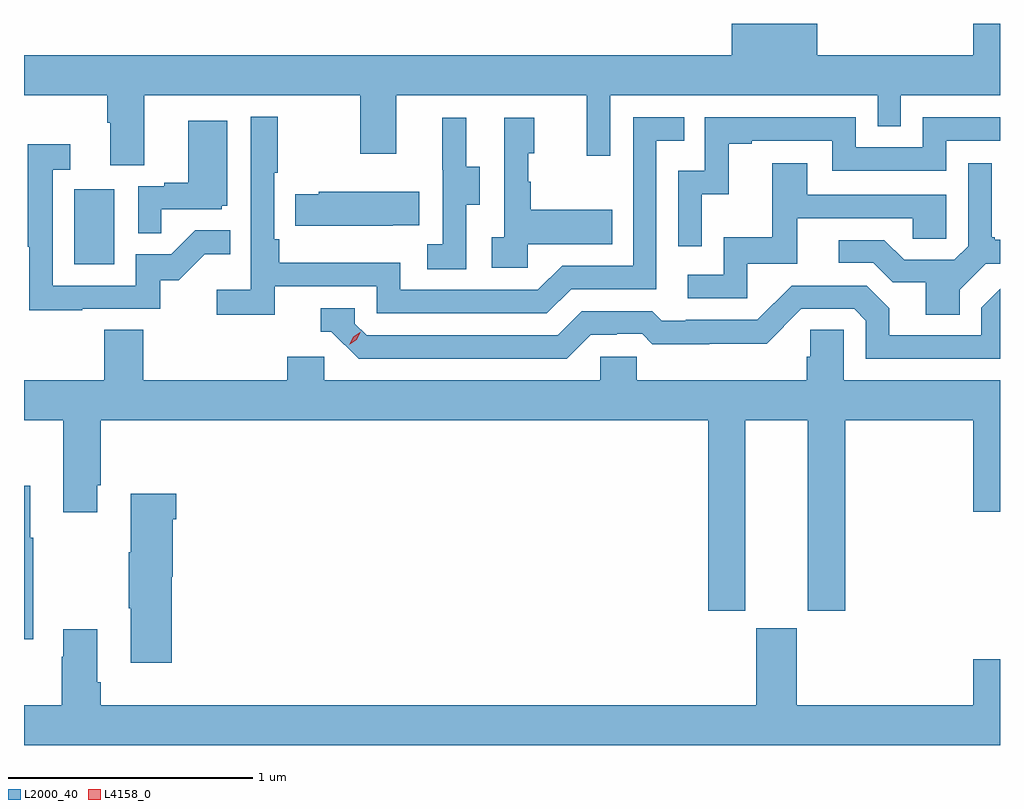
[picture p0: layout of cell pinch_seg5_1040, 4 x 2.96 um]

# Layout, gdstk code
import gdstk
lib = gdstk.Library(unit=1e-6, precision=1e-09)
def R(c, l, rs):  # rectangles x0, y0, x1, y1
    for r in rs: c.add(gdstk.rectangle(r[:2], r[2:], *l))
def P(c, l, *ps):  # polygons
    for p in ps: c.add(gdstk.Polygon(p, *l))
L2000_40 = (2000, 40)
L4158_0 = (4158, 0)

pinch_seg5_1040 = lib.new_cell('pinch_seg5_1040')
R(pinch_seg5_1040, L2000_40, [(820.664,864.06,820.828,864.367)])
P(pinch_seg5_1040, L2000_40, [(820.951,864.752),(821.836,864.752),(821.836,864.513),(821.983,864.513),(821.983,864.752),(822.764,864.752),(822.764,864.504),(822.861,864.504),(822.861,864.752),(823.956,864.752),(823.956,864.625),(824.052,864.625),(824.052,864.752),(824.458,864.752),(824.458,865.047),(824.348,865.047),(824.348,864.916),(823.708,864.916),(823.708,865.047),(823.358,865.047),(823.358,864.916),(820.458,864.916),(820.458,864.752),(820.799,864.752),(820.799,864.64),(820.811,864.64),(820.811,864.466),(820.951,864.466)],
  [(821.486,863.97),(821.904,863.97),(821.904,863.859),(822.601,863.859),(822.7,863.958),(823.05,863.958),(823.05,864.567),(823.163,864.567),(823.163,864.663),(822.954,864.663),(822.954,864.054),(822.663,864.054),(822.564,863.955),(822,863.955),(822,864.067),(821.504,864.067),(821.504,864.163),(821.484,864.163),(821.484,864.436),(821.497,864.436),(821.497,864.664),(821.388,864.664),(821.388,863.956),(821.247,863.956),(821.247,863.854),(821.486,863.854)],
  [(823.236,864.347),(823.346,864.347),(823.346,864.555),(823.441,864.555),(823.441,864.567),(823.77,864.567),(823.77,864.444),(824.238,864.444),(824.238,864.567),(824.458,864.567),(824.458,864.663),(824.142,864.663),(824.142,864.54),(823.866,864.54),(823.866,864.663),(823.248,864.663),(823.248,864.444),(823.14,864.444),(823.14,864.135),(823.236,864.135)],
  [(822.27,864.304),(822.325,864.304),(822.325,864.459),(822.271,864.459),(822.271,864.661),(822.173,864.661),(822.173,864.447),(822.174,864.447),(822.174,864.143),(822.111,864.143),(822.111,864.04),(822.27,864.04)],
  [(822.522,864.143),(822.869,864.143),(822.869,864.283),(822.535,864.283),(822.535,864.398),(822.525,864.398),(822.525,864.516),(822.55,864.516),(822.55,864.661),(822.426,864.661),(822.426,864.17),(822.375,864.17),(822.375,864.045),(822.522,864.045)],
  [(821.021,864.285),(821.268,864.285),(821.268,864.3),(821.29,864.3),(821.29,864.649),(821.132,864.649),(821.132,864.394),(821.033,864.394),(821.033,864.381),(820.926,864.381),(820.926,864.187),(821.021,864.187)],
  [(820.697,863.877),(821.016,863.877),(821.016,863.994),(821.092,863.994),(821.199,864.101),(821.303,864.101),(821.303,864.2),(821.159,864.2),(821.061,864.102),(820.917,864.102),(820.917,863.973),(820.575,863.973),(820.575,864.447),(820.648,864.447),(820.648,864.553),(820.474,864.553),(820.474,864.133),(820.479,864.133),(820.479,863.872),(820.697,863.872)],
  [(823.422,864.063),(823.627,864.063),(823.627,864.249),(824.101,864.249),(824.101,864.165),(824.238,864.165),(824.238,864.345),(823.669,864.345),(823.669,864.475),(823.525,864.475),(823.525,864.172),(823.326,864.172),(823.326,864.018),(823.179,864.018),(823.179,863.922),(823.422,863.922)],
  [(824.293,863.956),(824.4,864.063),(824.458,864.063),(824.458,864.16),(824.437,864.16),(824.437,864.172),(824.425,864.172),(824.425,864.475),(824.328,864.475),(824.328,864.135),(824.271,864.078),(824.065,864.078),(823.984,864.159),(823.797,864.159),(823.797,864.066),(823.938,864.066),(824.018,863.986),(824.153,863.986),(824.153,863.854),(824.293,863.854)],
  [(821.969,864.221),(822.077,864.221),(822.077,864.358),(821.667,864.358),(821.667,864.348),(821.569,864.348),(821.569,864.218),(821.969,864.218)],
  [(822.781,863.772),(822.888,863.772),(822.888,863.775),(822.991,863.775),(823.033,863.733),(823.266,863.733),(823.266,863.735),(823.502,863.735),(823.644,863.877),(823.86,863.877),(823.908,863.829),(823.908,863.673),(824.458,863.673),(824.458,863.959),(824.382,863.883),(824.382,863.769),(824.005,863.769),(824.005,863.879),(823.911,863.973),(823.605,863.973),(823.464,863.832),(823.171,863.832),(823.171,863.829),(823.072,863.829),(823.033,863.868),(822.744,863.868),(822.645,863.769),(821.862,863.769),(821.814,863.817),(821.814,863.88),(821.675,863.88),(821.675,863.784),(821.718,863.784),(821.829,863.673),(822.682,863.673)],
  [(823.414,863.42),(823.67,863.42),(823.67,862.641),(823.823,862.641),(823.823,863.42),(824.348,863.42),(824.348,863.046),(824.458,863.046),(824.458,863.584),(823.818,863.584),(823.818,863.792),(823.681,863.792),(823.681,863.682),(823.667,863.682),(823.667,863.584),(822.969,863.584),(822.969,863.682),(822.819,863.682),(822.819,863.584),(821.688,863.584),(821.688,863.682),(821.537,863.682),(821.537,863.584),(820.946,863.584),(820.946,863.792),(820.786,863.792),(820.786,863.584),(820.458,863.584),(820.458,863.42),(820.619,863.42),(820.619,863.043),(820.759,863.043),(820.759,863.155),(820.772,863.155),(820.772,863.42),(823.262,863.42),(823.262,862.641),(823.414,862.641)],
  [(820.495,862.939),(820.483,862.939),(820.483,863.152),(820.458,863.152),(820.458,862.523),(820.495,862.523)],
  [(821.063,862.779),(821.068,862.779),(821.068,863.015),(821.081,863.015),(821.081,863.119),(820.895,863.119),(820.895,862.879),(820.888,862.879),(820.888,862.651),(820.895,862.651),(820.895,862.428),(821.063,862.428)],
  [(824.458,862.441),(824.348,862.441),(824.348,862.252),(823.624,862.252),(823.624,862.569),(823.46,862.569),(823.46,862.252),(820.772,862.252),(820.772,862.348),(820.759,862.348),(820.759,862.564),(820.619,862.564),(820.619,862.451),(820.612,862.451),(820.612,862.252),(820.458,862.252),(820.458,862.088),(824.458,862.088)])
P(pinch_seg5_1040, L4158_0, [(821.792,863.73),(821.792,863.731),(821.807,863.763),(821.838,863.783),(821.838,863.783),(821.838,863.783),(821.822,863.75),(821.792,863.73)])

lib.write_gds('pinch_seg5_1040.gds')
